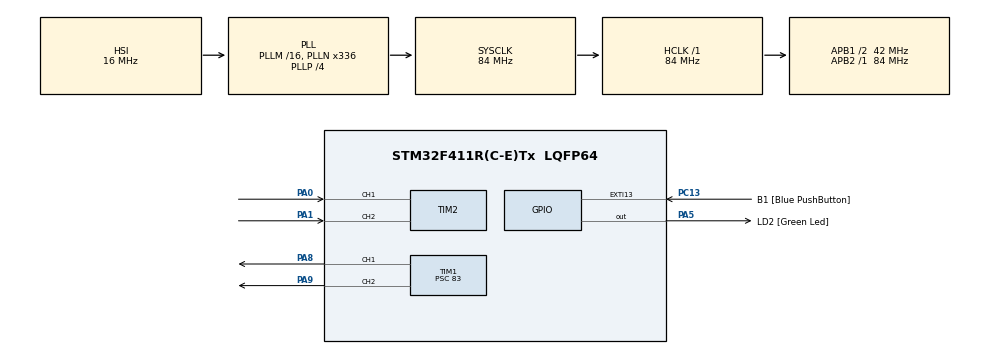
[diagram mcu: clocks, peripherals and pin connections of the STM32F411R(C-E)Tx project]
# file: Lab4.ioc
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ARM.CMSIS.5.6.0.CMSISJjCORE=true
ARM.CMSIS.5.6.0.CMSISJjDSP=Library
Mcu.Family=STM32F4
Mcu.Name=STM32F411R(C-E)Tx
Mcu.Package=LQFP64
NVIC.PriorityGroup=NVIC_PRIORITYGROUP_0
NVIC.TIM2_IRQn=true\:0\:0\:false\:false\:true\:true\:true\:true
PA0-WKUP.Signal=S_TIM2_CH1_ETR
PA1.Signal=S_TIM2_CH2
PA13.GPIO_Label=TMS
PA13.Signal=SYS_JTMS-SWDIO
PA14.GPIO_Label=TCK
PA14.Signal=SYS_JTCK-SWCLK
PA2.GPIO_Label=USART_TX
PA2.Signal=USART2_TX
PA3.GPIO_Label=USART_RX
PA3.Signal=USART2_RX
PA5.GPIO_Label=LD2 [Green Led]
PA5.Signal=GPIO_Output
PA8.Signal=S_TIM1_CH1
PA9.Signal=S_TIM1_CH2
PB3.GPIO_Label=SWO
PB3.Signal=SYS_JTDO-SWO
PC13-ANTI_TAMP.GPIO_Label=B1 [Blue PushButton]
PC13-ANTI_TAMP.GPIO_ModeDefaultEXTI=GPIO_MODE_IT_FALLING
PC13-ANTI_TAMP.Signal=GPXTI13
PC14-OSC32_IN.Signal=RCC_OSC32_IN
PC15-OSC32_OUT.Signal=RCC_OSC32_OUT
PH0\ -\ OSC_IN.Signal=RCC_OSC_IN
PH1\ -\ OSC_OUT.Signal=RCC_OSC_OUT
ProjectManager.HeapSize=0x200
ProjectManager.StackSize=0x400
ProjectManager.TargetToolchain=STM32CubeIDE
RCC.48MHZClocksFreq_Value=84000000
RCC.AHBFreq_Value=84000000
RCC.APB1CLKDivider=RCC_HCLK_DIV2
RCC.APB1Freq_Value=42000000
RCC.APB1TimFreq_Value=84000000
RCC.APB2Freq_Value=84000000
RCC.APB2TimFreq_Value=84000000
RCC.CortexFreq_Value=84000000
RCC.FLatency-AdvancedSettings=FLASH_LATENCY_2
RCC.HCLKFreq_Value=84000000
RCC.HSE_VALUE=8000000
RCC.HSI_VALUE=16000000
RCC.LSE_VALUE=32768
RCC.PLLN=336
RCC.PLLP=RCC_PLLP_DIV4
RCC.SYSCLKFreq_VALUE=84000000
RCC.SYSCLKSource=RCC_SYSCLKSOURCE_PLLCLK
RCC.VCOOutputFreq_Value=336000000
SH.S_TIM1_CH1.0=TIM1_CH1,PWM Generation1 CH1
SH.S_TIM1_CH2.0=TIM1_CH2,PWM Generation2 CH2
SH.S_TIM2_CH1_ETR.0=TIM2_CH1,Encoder_Interface
SH.S_TIM2_CH2.0=TIM2_CH2,Encoder_Interface
TIM1.Channel-PWM\ Generation1\ CH1=TIM_CHANNEL_1
TIM1.Channel-PWM\ Generation2\ CH2=TIM_CHANNEL_2
TIM1.Period=99
TIM1.Prescaler=83
VP_ARM.CMSIS_VS_CMSISJjCORE_5.3.0_5.6.0.Mode=CMSISJjCORE
VP_ARM.CMSIS_VS_CMSISJjDSP_1.7.0_5.6.0.Mode=CMSISJjDSP
VP_TIM1_VS_ClockSourceINT.Mode=Internal
board=NUCLEO-F411RE

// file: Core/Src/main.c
/* USER CODE BEGIN Header */
/**
  ******************************************************************************
  * @file           : main.c
  * @brief          : Main program body
  ******************************************************************************
  * @attention
  *
  * Copyright (c) 2023 STMicroelectronics.
  * All rights reserved.
  *
  * This software is licensed under terms that can be found in the LICENSE file
  * in the root directory of this software component.
  * If no LICENSE file comes with this software, it is provided AS-IS.
  *
  ******************************************************************************
  */
/* USER CODE END Header */
#include "main.h"

/* USER CODE BEGIN Includes */
#include "arm_math.h"
/* USER CODE END Includes */

TIM_HandleTypeDef htim1;
TIM_HandleTypeDef htim2;

/* USER CODE BEGIN PV */
uint32_t Degree_motor;
uint16_t Final_degree;

int16_t Vfeedback;
uint16_t Set_degree;

arm_pid_instance_f32 PID = {0};
/* USER CODE END PV */

void SystemClock_Config(void);
static void MX_GPIO_Init(void);
static void MX_TIM1_Init(void);
static void MX_TIM2_Init(void);

int main(void)
{

  /* MCU Configuration--------------------------------------------------------*/

  /* Reset of all peripherals, Initializes the Flash interface and the Systick. */
  HAL_Init();

  /* Configure the system clock */
  SystemClock_Config();

  /* Initialize all configured peripherals */
  MX_GPIO_Init();
  MX_TIM1_Init();
  MX_TIM2_Init();
  /* USER CODE BEGIN 2 */
  PID.Kp = 1;
  PID.Ki = 0;
  arm_pid_init_f32(&PID,0);
  HAL_TIM_Encoder_Start(&htim2, TIM_CHANNEL_1|TIM_CHANNEL_2);

  HAL_TIM_Base_Start(&htim1);
  HAL_TIM_PWM_Start(&htim1, TIM_CHANNEL_1);
  HAL_TIM_PWM_Start(&htim1, TIM_CHANNEL_2);
  /* USER CODE END 2 */

  /* Infinite loop */
  /* USER CODE BEGIN WHILE */
  while (1)
  {
	  static uint32_t timestamp =0;

	  	  if(HAL_GetTick()>timestamp)
	  	  {
	  		  timestamp = HAL_GetTick() +10;
			  Degree_motor = __HAL_TIM_GET_COUNTER(&htim2);
			  Final_degree = (Degree_motor/3071.0)*360;
			  Vfeedback = arm_pid_f32(&PID, Set_degree - Final_degree);
			  if(Vfeedback >0){
				  __HAL_TIM_SET_COMPARE(&htim1,TIM_CHANNEL_1,Vfeedback*15);
				  __HAL_TIM_SET_COMPARE(&htim1,TIM_CHANNEL_2,0);
			  }
			  else if (Vfeedback<0)
			  {
				  __HAL_TIM_SET_COMPARE(&htim1,TIM_CHANNEL_2,abs(Vfeedback)*15);
				  __HAL_TIM_SET_COMPARE(&htim1,TIM_CHANNEL_1,0);
			  }
			  else
			  {
				  __HAL_TIM_SET_COMPARE(&htim1,TIM_CHANNEL_2,0);
				  __HAL_TIM_SET_COMPARE(&htim1,TIM_CHANNEL_1,0);
			  }
	  	  }
    /* USER CODE END WHILE */

  }
}

void SystemClock_Config(void)
{
  RCC_OscInitTypeDef RCC_OscInitStruct = {0};
  RCC_ClkInitTypeDef RCC_ClkInitStruct = {0};

  /** Configure the main internal regulator output voltage
  */
  __HAL_RCC_PWR_CLK_ENABLE();
  __HAL_PWR_VOLTAGESCALING_CONFIG(PWR_REGULATOR_VOLTAGE_SCALE1);

  /** Initializes the RCC Oscillators according to the specified parameters
  * in the RCC_OscInitTypeDef structure.
  */
  RCC_OscInitStruct.OscillatorType = RCC_OSCILLATORTYPE_HSI;
  RCC_OscInitStruct.HSIState = RCC_HSI_ON;
  RCC_OscInitStruct.HSICalibrationValue = RCC_HSICALIBRATION_DEFAULT;
  RCC_OscInitStruct.PLL.PLLState = RCC_PLL_ON;
  RCC_OscInitStruct.PLL.PLLSource = RCC_PLLSOURCE_HSI;
  RCC_OscInitStruct.PLL.PLLM = 16;
  RCC_OscInitStruct.PLL.PLLN = 336;
  RCC_OscInitStruct.PLL.PLLP = RCC_PLLP_DIV4;
  RCC_OscInitStruct.PLL.PLLQ = 4;
  if (HAL_RCC_OscConfig(&RCC_OscInitStruct) != HAL_OK)
  {
    Error_Handler();
  }

  /** Initializes the CPU, AHB and APB buses clocks
  */
  RCC_ClkInitStruct.ClockType = RCC_CLOCKTYPE_HCLK|RCC_CLOCKTYPE_SYSCLK
                              |RCC_CLOCKTYPE_PCLK1|RCC_CLOCKTYPE_PCLK2;
  RCC_ClkInitStruct.SYSCLKSource = RCC_SYSCLKSOURCE_PLLCLK;
  RCC_ClkInitStruct.AHBCLKDivider = RCC_SYSCLK_DIV1;
  RCC_ClkInitStruct.APB1CLKDivider = RCC_HCLK_DIV2;
  RCC_ClkInitStruct.APB2CLKDivider = RCC_HCLK_DIV1;

  if (HAL_RCC_ClockConfig(&RCC_ClkInitStruct, FLASH_LATENCY_2) != HAL_OK)
  {
    Error_Handler();
  }
}

static void MX_TIM1_Init(void)
{

  TIM_ClockConfigTypeDef sClockSourceConfig = {0};
  TIM_MasterConfigTypeDef sMasterConfig = {0};
  TIM_OC_InitTypeDef sConfigOC = {0};
  TIM_BreakDeadTimeConfigTypeDef sBreakDeadTimeConfig = {0};

  htim1.Instance = TIM1;
  htim1.Init.Prescaler = 83;
  htim1.Init.CounterMode = TIM_COUNTERMODE_UP;
  htim1.Init.Period = 99;
  htim1.Init.ClockDivision = TIM_CLOCKDIVISION_DIV1;
  htim1.Init.RepetitionCounter = 0;
  htim1.Init.AutoReloadPreload = TIM_AUTORELOAD_PRELOAD_DISABLE;
  if (HAL_TIM_Base_Init(&htim1) != HAL_OK)
  {
    Error_Handler();
  }
  sClockSourceConfig.ClockSource = TIM_CLOCKSOURCE_INTERNAL;
  if (HAL_TIM_ConfigClockSource(&htim1, &sClockSourceConfig) != HAL_OK)
  {
    Error_Handler();
  }
  if (HAL_TIM_PWM_Init(&htim1) != HAL_OK)
  {
    Error_Handler();
  }
  sMasterConfig.MasterOutputTrigger = TIM_TRGO_RESET;
  sMasterConfig.MasterSlaveMode = TIM_MASTERSLAVEMODE_DISABLE;
  if (HAL_TIMEx_MasterConfigSynchronization(&htim1, &sMasterConfig) != HAL_OK)
  {
    Error_Handler();
  }
  sConfigOC.OCMode = TIM_OCMODE_PWM1;
  sConfigOC.Pulse = 0;
  sConfigOC.OCPolarity = TIM_OCPOLARITY_HIGH;
  sConfigOC.OCNPolarity = TIM_OCNPOLARITY_HIGH;
  sConfigOC.OCFastMode = TIM_OCFAST_DISABLE;
  sConfigOC.OCIdleState = TIM_OCIDLESTATE_RESET;
  sConfigOC.OCNIdleState = TIM_OCNIDLESTATE_RESET;
  if (HAL_TIM_PWM_ConfigChannel(&htim1, &sConfigOC, TIM_CHANNEL_1) != HAL_OK)
  {
    Error_Handler();
  }
  if (HAL_TIM_PWM_ConfigChannel(&htim1, &sConfigOC, TIM_CHANNEL_2) != HAL_OK)
  {
    Error_Handler();
  }
  sBreakDeadTimeConfig.OffStateRunMode = TIM_OSSR_DISABLE;
  sBreakDeadTimeConfig.OffStateIDLEMode = TIM_OSSI_DISABLE;
  sBreakDeadTimeConfig.LockLevel = TIM_LOCKLEVEL_OFF;
  sBreakDeadTimeConfig.DeadTime = 0;
  sBreakDeadTimeConfig.BreakState = TIM_BREAK_DISABLE;
  sBreakDeadTimeConfig.BreakPolarity = TIM_BREAKPOLARITY_HIGH;
  sBreakDeadTimeConfig.AutomaticOutput = TIM_AUTOMATICOUTPUT_DISABLE;
  if (HAL_TIMEx_ConfigBreakDeadTime(&htim1, &sBreakDeadTimeConfig) != HAL_OK)
  {
    Error_Handler();
  }
  HAL_TIM_MspPostInit(&htim1);

}

static void MX_TIM2_Init(void)
{

  TIM_Encoder_InitTypeDef sConfig = {0};
  TIM_MasterConfigTypeDef sMasterConfig = {0};

  htim2.Instance = TIM2;
  htim2.Init.Prescaler = 0;
  htim2.Init.CounterMode = TIM_COUNTERMODE_UP;
  htim2.Init.Period = 4294967295;
  htim2.Init.ClockDivision = TIM_CLOCKDIVISION_DIV1;
  htim2.Init.AutoReloadPreload = TIM_AUTORELOAD_PRELOAD_DISABLE;
  sConfig.EncoderMode = TIM_ENCODERMODE_TI1;
  sConfig.IC1Polarity = TIM_ICPOLARITY_RISING;
  sConfig.IC1Selection = TIM_ICSELECTION_DIRECTTI;
  sConfig.IC1Prescaler = TIM_ICPSC_DIV1;
  sConfig.IC1Filter = 0;
  sConfig.IC2Polarity = TIM_ICPOLARITY_RISING;
  sConfig.IC2Selection = TIM_ICSELECTION_DIRECTTI;
  sConfig.IC2Prescaler = TIM_ICPSC_DIV1;
  sConfig.IC2Filter = 0;
  if (HAL_TIM_Encoder_Init(&htim2, &sConfig) != HAL_OK)
  {
    Error_Handler();
  }
  sMasterConfig.MasterOutputTrigger = TIM_TRGO_RESET;
  sMasterConfig.MasterSlaveMode = TIM_MASTERSLAVEMODE_DISABLE;
  if (HAL_TIMEx_MasterConfigSynchronization(&htim2, &sMasterConfig) != HAL_OK)
  {
    Error_Handler();
  }

}

static void MX_GPIO_Init(void)
{
  GPIO_InitTypeDef GPIO_InitStruct = {0};

  /* GPIO Ports Clock Enable */
  __HAL_RCC_GPIOC_CLK_ENABLE();
  __HAL_RCC_GPIOH_CLK_ENABLE();
  __HAL_RCC_GPIOA_CLK_ENABLE();
  __HAL_RCC_GPIOB_CLK_ENABLE();

  /*Configure GPIO pin Output Level */
  HAL_GPIO_WritePin(LD2_GPIO_Port, LD2_Pin, GPIO_PIN_RESET);

  /*Configure GPIO pin : B1_Pin */
  GPIO_InitStruct.Pin = B1_Pin;
  GPIO_InitStruct.Mode = GPIO_MODE_IT_FALLING;
  GPIO_InitStruct.Pull = GPIO_NOPULL;
  HAL_GPIO_Init(B1_GPIO_Port, &GPIO_InitStruct);

  /*Configure GPIO pins : USART_TX_Pin USART_RX_Pin */
  GPIO_InitStruct.Pin = USART_TX_Pin|USART_RX_Pin;
  GPIO_InitStruct.Mode = GPIO_MODE_AF_PP;
  GPIO_InitStruct.Pull = GPIO_NOPULL;
  GPIO_InitStruct.Speed = GPIO_SPEED_FREQ_VERY_HIGH;
  GPIO_InitStruct.Alternate = GPIO_AF7_USART2;
  HAL_GPIO_Init(GPIOA, &GPIO_InitStruct);

  /*Configure GPIO pin : LD2_Pin */
  GPIO_InitStruct.Pin = LD2_Pin;
  GPIO_InitStruct.Mode = GPIO_MODE_OUTPUT_PP;
  GPIO_InitStruct.Pull = GPIO_NOPULL;
  GPIO_InitStruct.Speed = GPIO_SPEED_FREQ_LOW;
  HAL_GPIO_Init(LD2_GPIO_Port, &GPIO_InitStruct);

}

void Error_Handler(void)
{
  __disable_irq();
  while (1)
  {
  }
}
